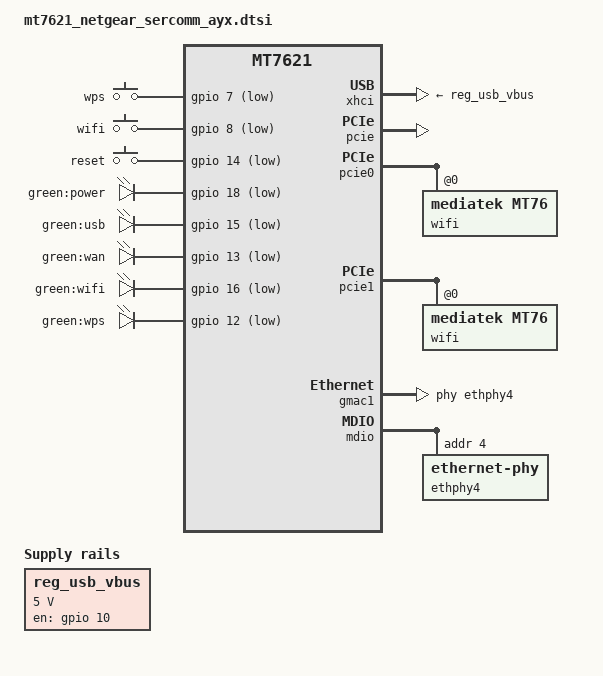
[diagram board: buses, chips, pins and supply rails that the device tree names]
// SPDX-License-Identifier: GPL-2.0-only

#include "mt7621.dtsi"

#include <dt-bindings/gpio/gpio.h>
#include <dt-bindings/input/input.h>

/ {
	compatible = "mediatek,mt7621-soc";

	aliases {
		led-boot = &led_power;
		led-failsafe = &led_power;
		led-running = &led_power;
		led-upgrade = &led_power;
		label-mac-device = &gmac0;
	};

	keys {
		compatible = "gpio-keys";

		wps {
			label = "wps";
			gpios = <&gpio 7 GPIO_ACTIVE_LOW>;
			linux,code = <KEY_WPS_BUTTON>;
		};

		wifi {
			label = "wifi";
			gpios = <&gpio 8 GPIO_ACTIVE_LOW>;
			linux,code = <KEY_RFKILL>;
		};

		reset {
			label = "reset";
			gpios = <&gpio 14 GPIO_ACTIVE_LOW>;
			linux,code = <KEY_RESTART>;
		};
	};

	leds {
		compatible = "gpio-leds";

		led_power: power {
			label = "green:power";
			gpios = <&gpio 18 GPIO_ACTIVE_LOW>;
		};

		usb {
			label = "green:usb";
			gpios = <&gpio 15 GPIO_ACTIVE_LOW>;
			trigger-sources = <&xhci_ehci_port1>, <&ehci_port2>;
			linux,default-trigger = "usbport";
		};

		internet {
			label = "green:wan";
			gpios = <&gpio 13 GPIO_ACTIVE_LOW>;
		};

		wifi {
			label = "green:wifi";
			gpios = <&gpio 16 GPIO_ACTIVE_LOW>;
			linux,default-trigger = "phy0tpt";
		};

		wps {
			label = "green:wps";
			gpios = <&gpio 12 GPIO_ACTIVE_LOW>;
		};
	};

	reg_usb_vbus: regulator {
		compatible = "regulator-fixed";
		regulator-name = "usb_vbus";
		regulator-min-microvolt = <5000000>;
		regulator-max-microvolt = <5000000>;
		gpio = <&gpio 10 GPIO_ACTIVE_HIGH>;
		enable-active-high;
	};
};

&xhci {
	vbus-supply = <&reg_usb_vbus>;
};

&pcie {
	status = "okay";
};

&pcie0 {
	wifi@0,0 {
		compatible = "mediatek,mt76";
		reg = <0x0 0 0 0 0>;
		mediatek,mtd-eeprom = <&factory 0x8000>;
		ieee80211-freq-limit = <5000000 6000000>;
	};
};

&pcie1 {
	wifi@0,0 {
		compatible = "mediatek,mt76";
		reg = <0x0 0 0 0 0>;
		mediatek,mtd-eeprom = <&factory 0x0>;
		ieee80211-freq-limit = <2400000 2500000>;
	};
};

&gmac0 {
	mtd-mac-address = <&factory 0x4>;
};

&gmac1 {
	status = "okay";
	label = "wan";
	phy-handle = <&ethphy4>;

	mtd-mac-address = <&factory 0x4>;
	mtd-mac-address-increment = <1>;
};

&mdio {
	ethphy4: ethernet-phy@4 {
		reg = <4>;
	};
};

&switch0 {
	ports {
		port@0 {
			status = "okay";
			label = "lan4";
		};

		port@1 {
			status = "okay";
			label = "lan3";
		};

		port@2 {
			status = "okay";
			label = "lan2";
		};

		port@3 {
			status = "okay";
			label = "lan1";
		};
	};
};

&state_default {
	gpio {
		groups = "uart3", "uart2", "jtag", "wdt";
		function = "gpio";
	};
};
